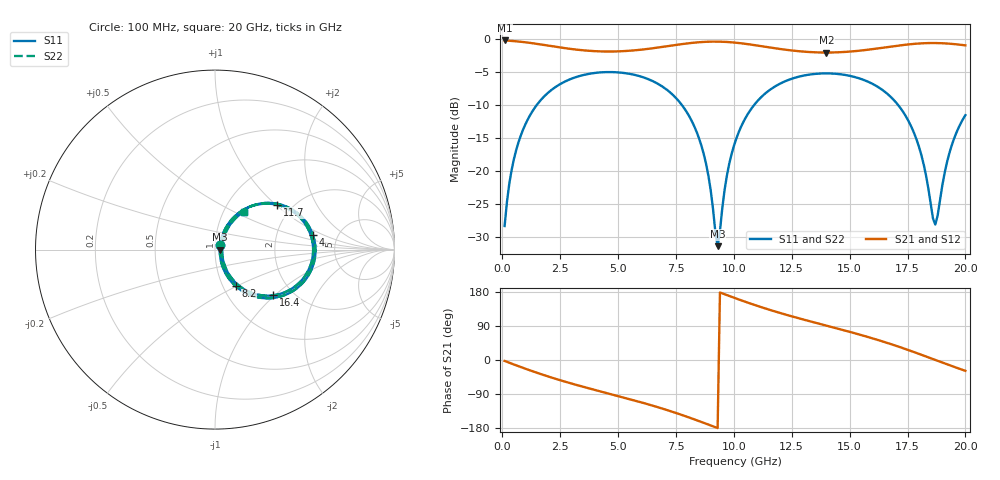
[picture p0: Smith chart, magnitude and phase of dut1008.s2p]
! Touchstone file exported from HFSS 2026.1.0
!  File:  C:/ffzhzh/LocalFiles/Ansys_Project_Files/temp_train_TSV_RDL_1008_1783290958_5512.aedt
!  Generated:  06:49:51 AM Jul  6, 2026
!  Design:  TSV_RDL
!  Project:  temp_train_TSV_RDL_1008_1783290958_5512
! Variables:
!  h_bsmrdl = 4.33um
!  h_ox = 20um
!  h_rdl = 5um
!  h_sub = 77.02um
!  h_tmrdl = 2.49um
!  h_tsv = 77.02um
!  h_via = 3um
!  l_bsmrdl = 982.74um
!  l_sub = 6659.08um
!  l_tmrdl = 789.15um
!  m_sub = 200um
!  pitch = 56.33um
!  r_tsv = 5.69um
!  s_tmrdl = 10um
!  w_bsmrdl = 23.96um
!  w_sub = 500um
!  w_tmrdl = 27.46um
!  x_tsv_center1 = 802.88um
!  x_tsv_center2 = 1809.58um
!  x_tsv_center3 = 2626.19um
!  x_tsv_center4 = 3632.89um
!  x_tsv_center5 = 4449.5um
!  x_tsv_center6 = 5456.2um
# GHz S MA R 50.000000
! Terminal data exported
! Port[1] = TM_RDL1_1_T1
! Port[2] = TM_RDL5_1_T1
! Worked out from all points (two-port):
!   200 points, 100 MHz to 20 GHz, reference 50 ohm
!   highest |S21| = -0.26 dB at 100 MHz (marker M1); lowest = -2.1 dB at 14 GHz (marker M2)
!   |S21| within 3 dB of the highest: start of sweep to end of sweep
!   lowest |S11| = -31.4 dB at 9.3 GHz (marker M3), VSWR 1.06, Z = 52.8 - j0.0347 ohm
!   |S11| at or under -10 dB: start of sweep to 1.494 GHz; 7.749 GHz to 10.88 GHz (3.133 GHz wide, 33.6 % of centre); 17.09 GHz to end of sweep
!   |S22| runs from -31.4 to -5.0 dB; largest |S21 - S12| = 1.7e-14
!   S11 on the Smith chart (normalised r, x): 100 MHz: 1.06, +0.05; 4 GHz: 3.25, +0.77; 8.2 GHz: 1.15, -0.50; 11.7 GHz: 1.67, +1.02; 16.4 GHz: 1.59, -0.98; 20 GHz: 1.24, +0.56
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0.1  0.03828 38.9  0.9709 -2.5  0.9709 -2.5  0.03828 38.9
! Gamma 0 0 0 0
! Port Impedance 50 0 50 0
0.5  0.1225 62.6  0.96 -11.8  0.96 -11.8  0.1225 62.6
1.1  0.2451 56.7  0.9357 -25.2  0.9357 -25.2  0.2451 56.7
2.1  0.4069 39.7  0.8808 -45.8  0.8808 -45.8  0.4068 39.7
3.5  0.5316 16.4  0.8174 -70.8  0.8174 -70.8  0.5316 16.5
4  0.5513 8.6  0.8057 -79.0  0.8057 -79.0  0.5513 8.7
5.4  0.5463 -12.9  0.8093 -101.6  0.8093 -101.6  0.5463 -12.9
6.8  0.4477 -35.8  0.8619 -126.1  0.8619 -126.1  0.4477 -35.8
8.2  0.2352 -60.4  0.931 -154.6  0.931 -154.6  0.2351 -60.4
8.8  0.1132 -66.4  0.9485 -168.1  0.9485 -168.1  0.1131 -66.3
9.3  0.02695 -0.7  0.9515 -179.6  0.9515 -179.6  0.02688 -0.6
9.7  0.09227 62.8  0.9457 171.3  0.9457 171.3  0.09228 62.9
10.1  0.1743 62.1  0.9332 162.2  0.9332 162.2  0.1744 62.2
11.7  0.4272 35.7  0.8515 129.5  0.8515 129.5  0.4273 35.8
13.4  0.5395 8.5  0.7912 100.3  0.7912 100.3  0.5396 8.6
14  0.5469 -0.5  0.7866 90.6  0.7866 90.6  0.5469 -0.4
16.4  0.4119 -38.2  0.8538 49.5  0.8538 49.5  0.412 -38.1
16.7  0.3736 -43.3  0.8684 43.6  0.8684 43.6  0.3737 -43.1
17.9  0.1708 -60.4  0.9185 18.3  0.9185 18.3  0.171 -60.1
18.7  0.03928 2.0  0.9283 0.2  0.9283 0.2  0.03981 2.0
19.3  0.1347 58.9  0.9183 -13.4  0.9183 -13.4  0.1349 58.7
20  0.2643 52.6  0.8915 -28.6  0.8915 -28.6  0.2644 52.6
